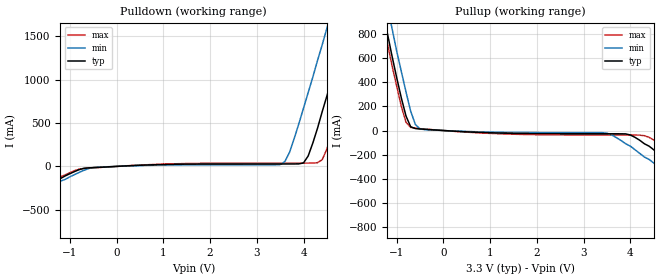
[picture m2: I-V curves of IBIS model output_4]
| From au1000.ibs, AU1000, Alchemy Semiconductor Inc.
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|   Model output_4
[Model]   output_4
Model_type   Output
Polarity   Non-Inverting
C_comp   1.25pF   1.20pF   1.30pF
[Temperature Range]   27.00   100.00   0.000
[Voltage Range]   3.30V   3.00V   3.60V
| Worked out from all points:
|   slope of the pulldown table from 0 to 0.495 V, typ, clamps not added: 38.2 ohm
|   slope of the pullup table from 0 to 0.495 V, typ, clamps not added: 45.9 ohm
[Pulldown]
| voltage   I(typ)   I(min)   I(max)
-3.3V     -720mA     -760mA     -710mA
-1.2V     -140mA     -170mA     -120mA
-500mV    -14.37mA   -13.12mA   -16.17mA
3.5V      27.79mA    21.13mA    36.89mA
3.7V      27.86mA    160mA      36.96mA
4V        40.03mA    670mA      37.15mA
4.3V      440mA      1.22A      42.62mA
4.5V      810mA      1.59A      200mA
4.9V      1.56A      2.33A      920mA
5.2V      2.12A      2.89A      1.48A
5.3V      2.31A      3.07A      1.67A
6.6V      4.75A      5.48A      4.13A
[Pullup]
| voltage   I(typ)   I(min)   I(max)
-3.3V     4.75A      4.93A      4.69A
-1.3V     1A         1.22A      920mA
-1.2V     810mA      1.03A      730mA
-1.1V     620mA      850mA      540mA
-800mV    120mA      320mA      68.22mA
-700mV    31.19mA    160mA      25.81mA
-600mV    16.26mA    50.16mA    19.66mA
-500mV    12.91mA    12.75mA    15.54mA
3.4V      -27.06mA   -17.87mA   -37.18mA
4V        -36.94mA   -130mA     -37.59mA
4.6V      -190mA     -300mA     -100mA
6.6V      -750mA     -860mA     -660mA
[Ramp]
| variable   typ   min   max
dV/dt_r   1.11/0.16ns   0.82/0.24ns   1.34/0.13ns
dV/dt_f   1.32/0.21ns   0.74/0.23ns   1.45/0.15ns
R_load = 0.10k
| End [Model] output_4
